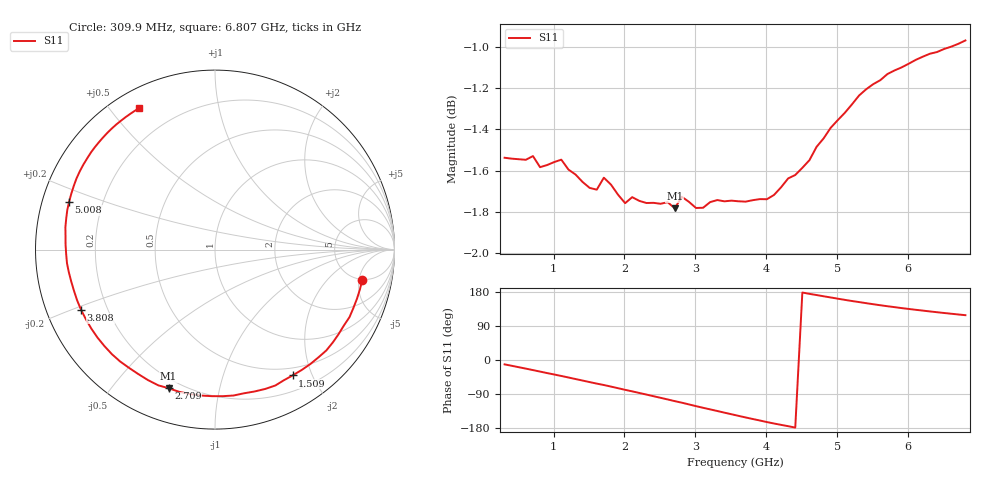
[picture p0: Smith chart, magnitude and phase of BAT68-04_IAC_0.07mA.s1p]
! Infineon Technologies  Discrete & RF Semiconductors
! BAT68-04
! IAC = 0.07 mA
! One-Port S-Parameters
# Hz  S  MA  R  50
!f  S11
!Hz  Mag  Ang
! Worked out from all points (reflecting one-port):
!   66 points, 309.9 MHz to 6.807 GHz, reference 50 ohm
!   lowest |S11| = -1.8 dB at 2.709 GHz (marker M1), VSWR 9.77, Z = 7.72 - j35.4 ohm
!   phase of S11 starts at -12 deg and turns -230 deg over the sweep
!   S11 on the Smith chart (normalised r, x): 309.9 MHz: 4.96, -5.57; 1.509 GHz: 0.40, -1.72; 2.709 GHz: 0.15, -0.71; 3.808 GHz: 0.10, -0.21; 5.008 GHz: 0.08, +0.16; 6.807 GHz: 0.08, +0.60
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3.0985e8  0.8377 -11.5
5.0975e8  0.8371 -19.0
7.0965e8  0.8385 -26.6
1.0095e9  0.8357 -38.3
1.2094e9  0.8322 -46.1
1.50925e9  0.8237 -58.3
1.70915e9  0.8285 -66.0
1.8091e9  0.8253 -70.2
2.009e9  0.8167 -78.7
2.2089e9  0.8178 -87.0
2.4088e9  0.8169 -95.5
2.6087e9  0.8172 -104.1
2.70865e9  0.8144 -108.5
2.8086e9  0.8196 -112.7
3.0085e9  0.8145 -121.7
3.2084e9  0.8172 -130.3
3.4083e9  0.8176 -138.9
3.6082e9  0.8176 -147.4
3.8081e9  0.8181 -155.7
4.10795e9  0.8205 -167.6
4.4078e9  0.8297 -178.4
4.70765e9  0.8428 171.4
5.0075e9  0.8556 161.8
5.2074e9  0.8632 155.7
5.6072e9  0.8749 144.5
6.007e9  0.883 134.8
6.30685e9  0.888 128.1
6.8066e9  0.8946 118.3
